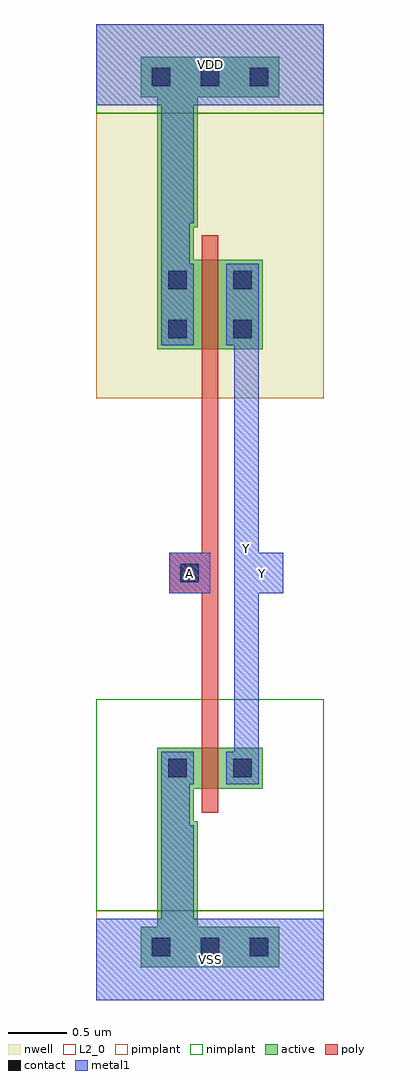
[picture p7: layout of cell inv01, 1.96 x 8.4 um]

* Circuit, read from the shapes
.subckt inv01 A VDD VSS Y
M1 Y A VSS VSS nfet w=0.35u l=0.14u
M2 Y A VDD VDD pfet w=0.77u l=0.14u
.ends

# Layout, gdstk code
import gdstk
lib = gdstk.Library(unit=1e-6, precision=1e-09)
def R(c, l, rs):  # rectangles x0, y0, x1, y1
    for r in rs: c.add(gdstk.rectangle(r[:2], r[2:], *l))
def A(c, l, x, y, w, h, nx, ny, dx, dy):  # array of equal rectangles
    R(c, l, [(x+i*dx, y+j*dy, x+i*dx+w, y+j*dy+h) for i in range(nx) for j in range(ny)])
L2_0 = (2, 0)
nwell = (3, 0)
active = (6, 0)
poly = (17, 0)
pimplant = (25, 0)
nimplant = (26, 0)
contact = (30, 0)
metal1 = (31, 0)

adk_poly_m1 = lib.new_cell('ADK_poly_m1')
R(adk_poly_m1, poly, [(-0.175,-0.175,0.175,0.175)])
R(adk_poly_m1, contact, [(-0.08,-0.08,0.08,0.08)])
R(adk_poly_m1, metal1, [(-0.175,-0.175,0.175,0.175)])

inv01 = lib.new_cell('inv01')
R(inv01, L2_0, [(0,0,1.96,2.59)])
R(inv01, nwell, [(0,5.18,1.96,8.4), (0,5.18,1.96,7.63)])
R(inv01, active, [(0.385,0.28,1.575,0.63), (0.525,0.63,0.875,1.54), (0.525,1.54,0.84,1.82), (0.525,1.82,0.91,2.17), (0.525,1.82,1.435,2.17), (1.05,1.82,1.435,2.17), (0.525,5.6,0.91,6.37), (0.525,5.6,1.435,6.37), (1.05,5.6,1.435,6.37), (0.525,6.37,0.84,6.65), (0.525,6.65,0.875,7.77), (0.385,7.77,1.575,8.12)])
R(inv01, poly, [(0.91,1.61,1.05,1.82), (0.91,1.82,1.05,2.17), (0.91,2.17,1.05,2.38), (0.91,2.345,1.05,5.425), (0.91,5.39,1.05,5.6), (0.91,5.6,1.05,6.37), (0.91,6.37,1.05,6.58)])
R(inv01, pimplant, [(0,0,1.96,0.77), (0,5.18,1.96,7.63)])
R(inv01, nimplant, [(0,0.77,1.96,2.59), (0,7.63,1.96,8.4)])
A(inv01, contact, 0.48, 0.375, 0.16, 0.16, 3, 2, 0.42, 7.49)
R(inv01, contact, [(0.62,1.915,0.78,2.075), (1.18,1.915,1.34,2.075), (0.62,5.695,0.78,5.855), (1.18,5.695,1.34,5.855), (0.62,6.115,0.78,6.275), (1.18,6.115,1.34,6.275)])
R(inv01, metal1, [(0,0,1.96,0.7), (0,0,1.96,0.7), (0.56,0.7,0.84,1.505), (0.56,1.505,0.805,1.855), (0.56,1.855,0.84,2.135), (1.12,1.855,1.4,2.135), (1.19,2.135,1.4,5.635), (0.63,3.5,0.98,3.85), (1.26,3.5,1.61,3.85), (1.26,3.5,1.61,3.85), (0.56,5.635,0.84,6.335), (1.12,5.635,1.4,6.335), (0.56,6.335,0.805,6.685), (0.56,6.685,0.84,7.7), (0,7.7,1.96,8.4), (0,7.7,1.96,8.4)])
inv01.add(gdstk.Reference(adk_poly_m1, (0.805,3.675)))
inv01.add(gdstk.Label('Y', (1.435,3.675), layer=131, texttype=0))
inv01.add(gdstk.Label('A', (0.805,3.675), layer=131, texttype=0))
inv01.add(gdstk.Label('VDD', (0.98,8.05), layer=131, texttype=0))
inv01.add(gdstk.Label('VSS', (0.98,0.35), layer=131, texttype=0))
inv01.add(gdstk.Label('Y', (1.435,3.675), layer=31, texttype=0))
inv01.add(gdstk.Label('Y', (1.435,3.675), layer=31, texttype=0))
inv01.add(gdstk.Label('Y', (1.295,3.885), layer=31, texttype=0))
inv01.add(gdstk.Label('A', (0.805,3.675), layer=31, texttype=0))
inv01.add(gdstk.Label('VDD', (0.98,8.05), layer=31, texttype=0))
inv01.add(gdstk.Label('VSS', (0.98,0.35), layer=31, texttype=0))

lib.write_gds('inv01.gds')
